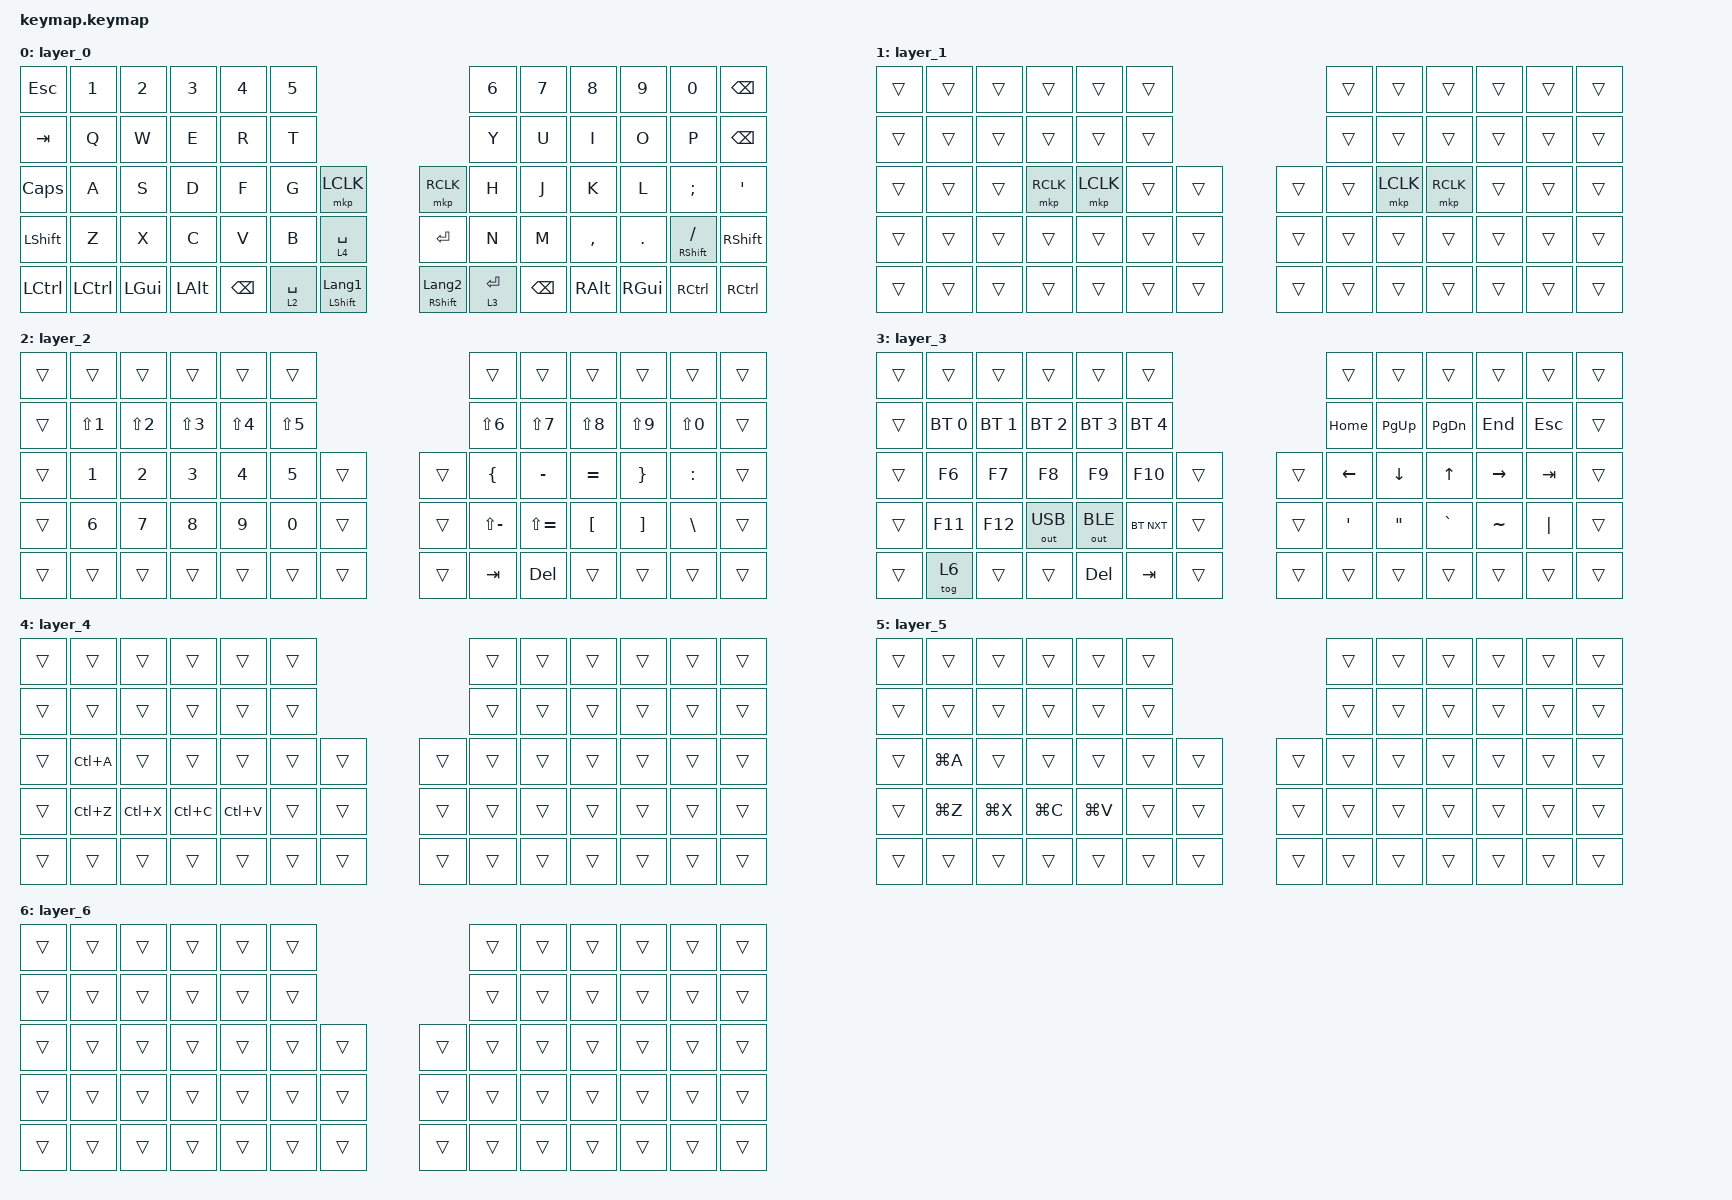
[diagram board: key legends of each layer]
#include <behaviors.dtsi>
#include <dt-bindings/zmk/bt.h>
#include <dt-bindings/zmk/keys.h>
#include <dt-bindings/zmk/outputs.h>
#include <dt-bindings/zmk/pointing.h>

/ {
    // layer 4 (スクロール層) を出している間に Mac モード (layer 6) が ON なら
    // layer 5 (Cmd 版の編集キー) が有効になる。
    conditional_layers {
        compatible = "zmk,conditional-layers";

        mac_edit {
            if-layers = <4 6>;
            then-layer = <5>;
        };
    };

    combos {
        compatible = "zmk,combos";

        bt_clear {
            bindings = <&bt BT_CLR>;
            key-positions = <28 29>;
            layers = <2>;
        };
    };

    keymap {
        compatible = "zmk,keymap";

        layer_0 {
            bindings = <
&kp ESC    &kp N1     &kp N2    &kp N3    &kp N4    &kp N5                                                         &kp N6       &kp N7    &kp N8     &kp N9    &kp N0                &kp BSPC
&kp TAB    &kp Q      &kp W     &kp E     &kp R     &kp T                                                          &kp Y        &kp U     &kp I      &kp O     &kp P                 &kp BSPC
&kp CAPS   &kp A      &kp S     &kp D     &kp F     &kp G        &mkp LCLK                  &mkp RCLK              &kp H        &kp J     &kp K      &kp L     &kp SEMI              &kp SQT
&kp LSHFT  &kp Z      &kp X     &kp C     &kp V     &kp B        &lt 4 SPACE                &kp RET              &kp N        &kp M     &kp COMMA  &kp DOT   &mt RIGHT_SHIFT FSLH  &kp RSHFT
&kp LCTRL  &kp LCTRL  &kp LGUI  &kp LALT  &kp BSPC  &lt 2 SPACE  &mt LEFT_SHIFT LANGUAGE_1  &mt RSHIFT LANGUAGE_2  &lt 3 ENTER  &kp BSPC  &kp RALT   &kp RGUI  &kp RCTRL             &kp RCTRL
            >;
        };

        layer_1 {
            bindings = <
&trans  &trans  &trans  &trans     &trans     &trans                  &trans  &trans     &trans     &trans  &trans  &trans
&trans  &trans  &trans  &trans     &trans     &trans                  &trans  &trans     &trans     &trans  &trans  &trans
&trans  &trans  &trans  &mkp RCLK  &mkp LCLK  &trans  &trans  &trans  &trans  &mkp LCLK  &mkp RCLK  &trans  &trans  &trans
&trans  &trans  &trans  &trans     &trans     &trans  &trans  &trans  &trans  &trans     &trans     &trans  &trans  &trans
&trans  &trans  &trans  &trans     &trans     &trans  &trans  &trans  &trans  &trans     &trans     &trans  &trans  &trans
            >;
        };

        layer_2 {
            bindings = <
&trans  &trans            &trans            &trans      &trans      &trans                      &trans          &trans         &trans            &trans             &trans         &trans
&trans  &kp LS(NUMBER_1)  &kp LS(NUMBER_2)  &kp LS(N3)  &kp LS(N4)  &kp LS(N5)                  &kp LS(N6)      &kp LS(N7)     &kp LS(N8)        &kp LS(N9)         &kp LS(N0)     &trans
&trans  &kp N1            &kp N2            &kp N3      &kp N4      &kp N5      &trans  &trans  &kp LEFT_BRACE  &kp MINUS      &kp EQUAL         &kp RIGHT_BRACE    &kp COLON      &trans
&trans  &kp N6            &kp N7            &kp N8      &kp N9      &kp N0      &trans  &trans  &kp LS(MINUS)   &kp LS(EQUAL)  &kp LEFT_BRACKET  &kp RIGHT_BRACKET  &kp BACKSLASH  &trans
&trans  &trans            &trans            &trans      &trans      &trans      &trans  &trans  &kp TAB         &kp DEL        &trans            &trans             &trans         &trans
            >;
        };

        layer_3 {
            bindings = <
&trans  &trans        &trans        &trans        &trans        &trans                              &trans            &trans     &trans         &trans     &trans      &trans
&trans  &bt BT_SEL 0  &bt BT_SEL 1  &bt BT_SEL 2  &bt BT_SEL 3  &bt BT_SEL 4                        &kp HOME          &kp PG_UP  &kp PAGE_DOWN  &kp END    &kp ESCAPE  &trans
&trans  &kp F6   &kp F7   &kp F8        &kp F9        &kp F10     &trans  &trans  &kp LEFT          &kp DOWN   &kp UP_ARROW   &kp RIGHT  &kp TAB     &trans
&trans  &kp F11  &kp F12  &out OUT_USB  &out OUT_BLE  &bt BT_NXT  &trans  &trans  &kp SINGLE_QUOTE  &kp DQT    &kp GRAVE      &kp TILDE  &kp PIPE    &trans
&trans  &tog 6   &trans   &trans        &kp DELETE    &kp TAB     &trans  &trans  &trans            &trans     &trans         &trans     &trans      &trans
            >;
        };

        // スクロール + 編集レイヤー (左親指 &mo 4 長押し中に有効)
        // 右手はトラックボールに置いたまま、左手だけでコピペができる。
        // 位置は実際のショートカットと同じ文字 (A/Z/X/C/V) に合わせてある。
        layer_4 {
            bindings = <
&trans  &trans     &trans     &trans     &trans     &trans                  &trans  &trans  &trans  &trans  &trans  &trans
&trans  &trans     &trans     &trans     &trans     &trans                  &trans  &trans  &trans  &trans  &trans  &trans
&trans  &kp LC(A)  &trans     &trans     &trans     &trans  &trans  &trans  &trans  &trans  &trans  &trans  &trans  &trans
&trans  &kp LC(Z)  &kp LC(X)  &kp LC(C)  &kp LC(V)  &trans  &trans  &trans  &trans  &trans  &trans  &trans  &trans  &trans
&trans  &trans     &trans     &trans     &trans     &trans  &trans  &trans  &trans  &trans  &trans  &trans  &trans  &trans
            >;
        };

        // Mac 用の編集キー (layer 4 + Mac モード layer 6 の同時有効で自動的にこれになる)
        layer_5 {
            bindings = <
&trans  &trans     &trans     &trans     &trans     &trans                  &trans  &trans  &trans  &trans  &trans  &trans
&trans  &trans     &trans     &trans     &trans     &trans                  &trans  &trans  &trans  &trans  &trans  &trans
&trans  &kp LG(A)  &trans     &trans     &trans     &trans  &trans  &trans  &trans  &trans  &trans  &trans  &trans  &trans
&trans  &kp LG(Z)  &kp LG(X)  &kp LG(C)  &kp LG(V)  &trans  &trans  &trans  &trans  &trans  &trans  &trans  &trans  &trans
&trans  &trans     &trans     &trans     &trans     &trans  &trans  &trans  &trans  &trans  &trans  &trans  &trans  &trans
            >;
        };

        // Mac モードのフラグ用レイヤー (&tog 6 で ON/OFF。中身は全て透過なので通常入力に影響しない)
        layer_6 {
            bindings = <
&trans  &trans  &trans  &trans  &trans  &trans                  &trans  &trans  &trans  &trans  &trans  &trans
&trans  &trans  &trans  &trans  &trans  &trans                  &trans  &trans  &trans  &trans  &trans  &trans
&trans  &trans  &trans  &trans  &trans  &trans  &trans  &trans  &trans  &trans  &trans  &trans  &trans  &trans
&trans  &trans  &trans  &trans  &trans  &trans  &trans  &trans  &trans  &trans  &trans  &trans  &trans  &trans
&trans  &trans  &trans  &trans  &trans  &trans  &trans  &trans  &trans  &trans  &trans  &trans  &trans  &trans
            >;
        };
    };
};
